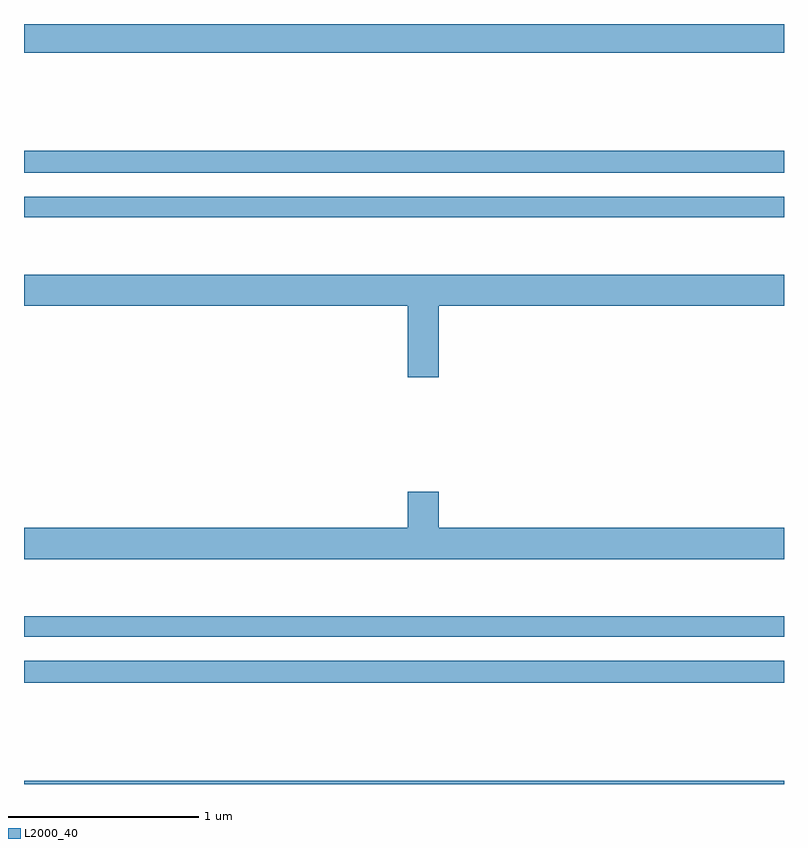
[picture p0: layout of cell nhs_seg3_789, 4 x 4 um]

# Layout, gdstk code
import gdstk
lib = gdstk.Library(unit=1e-6, precision=1e-09)
def R(c, l, rs):  # rectangles x0, y0, x1, y1
    for r in rs: c.add(gdstk.rectangle(r[:2], r[2:], *l))
def P(c, l, *ps):  # polygons
    for p in ps: c.add(gdstk.Polygon(p, *l))
L2000_40 = (2000, 40)

nhs_seg3_789 = lib.new_cell('nhs_seg3_789')
R(nhs_seg3_789, L2000_40, [(151,698.4,155,698.416), (151,698.932,155,699.048), (151,699.174,155,699.283), (151,701.382,155,701.49), (151,701.616,155,701.732), (151,702.248,155,702.4)])
P(nhs_seg3_789, L2000_40, [(153.184,700.916),(155,700.916),(155,701.08),(151,701.08),(151,700.916),(153.02,700.916),(153.02,700.542),(153.184,700.542)],
  [(155,699.748),(153.184,699.748),(153.184,699.937),(153.02,699.937),(153.02,699.748),(151,699.748),(151,699.584),(155,699.584)])

lib.write_gds('nhs_seg3_789.gds')
